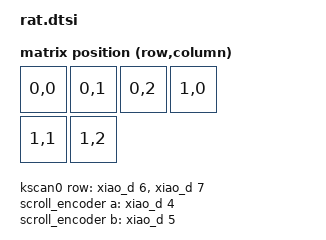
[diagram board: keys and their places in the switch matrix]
#include <dt-bindings/zmk/matrix_transform.h>

/ {
    chosen {
        zmk,kscan = &kscan0;
        zmk,matrix_transform = &default_transform;
    };

    default_transform: keymap_transform_0 {
        compatible = "zmk,matrix-transform";
        columns = <3>;
        rows = <2>;

        map = <
        RC(0,0) RC(0,1) RC(0,2) RC(1,0)
        RC(1,1) RC(1,2)
        >;
    };

    kscan0: kscan {
        compatible = "zmk,kscan-gpio-matrix";
        label = "KSCAN";

        diode-direction = "row2col";
		row-gpios
			= <&xiao_d 6 GPIO_ACTIVE_HIGH>
			, <&xiao_d 7 GPIO_ACTIVE_HIGH>
            ;
    };

	trackballs {
		compatible = "zmk,keymap-trackballs";
		trackballs = <&trackball>;
	};
};

&spi0 {
	compatible = "nordic,nrf-spim";
	status = "disabled";

	trackball: trackball@0 {
		compatible = "pixart,pmw3610";
		status = "disabled";
		reg = <0>;
		label = "TRACKBALL";
		spi-max-frequency = <2000000>;
		duplex = <2048>; // required by 3-wire spi
	};

    scroll_encoder: encoder_scroll {
        compatible = "alps,ec11";
        label = "SCROLL";
        a-gpios = <&xiao_d 4 (GPIO_ACTIVE_LOW | GPIO_PULL_UP)>;
        b-gpios = <&xiao_d 5 (GPIO_ACTIVE_LOW | GPIO_PULL_UP)>;
        resolution = <4>;
        status = "disabled";
    };

    sensors: sensors {
        compatible = "zmk,keymap-sensors";
        sensors = <&scroll_encoder>;
    };
};
